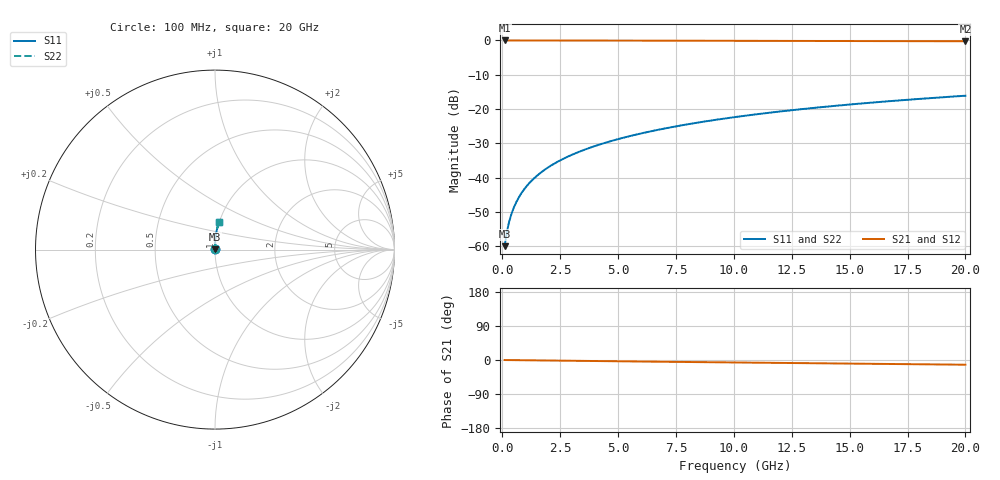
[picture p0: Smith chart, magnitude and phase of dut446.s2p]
! Touchstone file exported from HFSS 2024.1.0
!  File:  C:/UserFiles/LocalFiles/RDL_TSV_Batchsim/temp_RDL_bottom_446_1779684931.aedt
!  Generated:  12:57:48 PM May 25, 2026
!  Design:  RDL_bottom
!  Project:  temp_RDL_bottom_446_1779684931
!  Setup:  Setup1
!  Solution:  Sweep
! Variables:
!  dtsv = 10.80580581um
!  hbump = 3um
!  htsv = 79.59um
!  ldown = 120.65um
!  lrdl = 100um
!  p = 40
!  p1 = 59.98um
!  rhole = 1um
!  t = 450um
!  tdown = 4.07um
!  trdl = 3.915915916um
!  wdown = 21.86um
!  wrdl = 20um
# GHz S MA R 50.000000
! Terminal data exported
! Port[1] = RDL1_T1
! Port[2] = RDL1_T2
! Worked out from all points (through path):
!   200 points, 100 MHz to 20 GHz, reference 50 ohm
!   highest |S21| = -0.01 dB at 100 MHz (marker M1); lowest = -0.2 dB at 20 GHz (marker M2)
!   group delay of S21, straight-line fit = 1.71 ps
!   lowest |S11| = -59.9 dB at 100 MHz (marker M3), VSWR 1.00, Z = 50.1 + j0.0751 ohm
!   |S11| at or under -10 dB: start of sweep to end of sweep
!   |S22| runs from -59.9 to -16.1 dB; largest |S21 - S12| = 3.2e-15
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0.1  0.001006 48.2  0.9993 -0.1  0.9993 -0.1  0.001006 48.2
! Gamma 0 0 0 0
! Port Impedance 50 0 50 0
0.2  0.001638 64.8  0.9993 -0.1  0.9993 -0.1  0.001638 64.8
0.3  0.002313 71.8  0.9993 -0.2  0.9993 -0.2  0.002313 71.8
0.4  0.002996 75.7  0.9992 -0.3  0.9992 -0.3  0.002996 75.7
0.5  0.003684 78.2  0.9992 -0.4  0.9992 -0.4  0.003684 78.2
0.7  0.005071 81.3  0.9991 -0.5  0.9991 -0.5  0.005071 81.3
0.8  0.005768 82.4  0.9991 -0.6  0.9991 -0.6  0.005768 82.4
1  0.007171 83.9  0.999 -0.7  0.999 -0.7  0.007171 83.9
1.2  0.008581 85.0  0.9989 -0.8  0.9989 -0.8  0.008581 85.0
1.4  0.009997 85.8  0.9988 -1.0  0.9988 -1.0  0.009997 85.8
1.7  0.01213 86.6  0.9986 -1.2  0.9986 -1.2  0.01213 86.6
2  0.01428 87.2  0.9984 -1.4  0.9984 -1.4  0.01428 87.2
2.7  0.01934 88.2  0.9978 -1.9  0.9978 -1.9  0.01934 88.2
3.5  0.02521 88.7  0.9969 -2.4  0.9969 -2.4  0.02521 88.7
4.2  0.03043 89.0  0.9961 -2.9  0.9961 -2.9  0.03043 89.0
5  0.03649 89.1  0.995 -3.4  0.995 -3.4  0.03649 89.1
6.8  0.05047 88.9  0.9924 -4.6  0.9924 -4.6  0.05047 88.9
8.4  0.06318 88.3  0.99 -5.6  0.99 -5.6  0.06318 88.3
10.1  0.07687 87.4  0.9875 -6.6  0.9875 -6.6  0.07687 87.4
13.4  0.1036 85.3  0.9826 -8.6  0.9826 -8.6  0.1036 85.3
16.7  0.1302 83.1  0.9777 -10.5  0.9777 -10.5  0.1302 83.1
20  0.1564 80.9  0.9725 -12.4  0.9725 -12.4  0.1564 80.9
